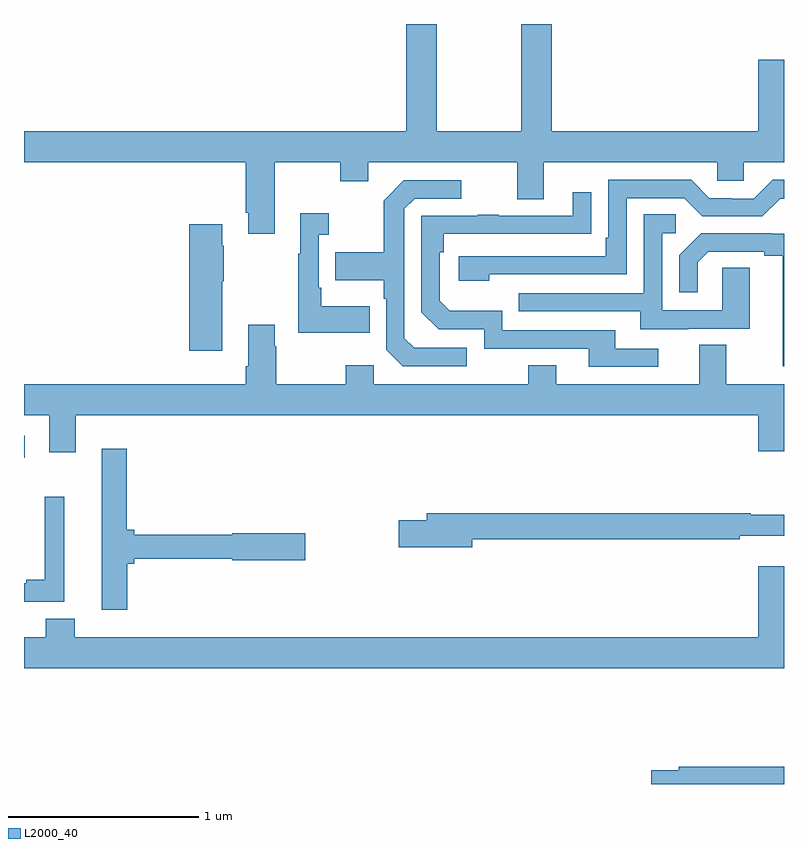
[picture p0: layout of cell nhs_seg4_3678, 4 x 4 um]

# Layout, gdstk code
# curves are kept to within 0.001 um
import gdstk
lib = gdstk.Library(unit=1e-6, precision=1e-09)
def R(c, l, rs):  # rectangles x0, y0, x1, y1
    for r in rs: c.add(gdstk.rectangle(r[:2], r[2:], *l))
def P(c, l, *ps):  # polygons
    for p in ps: c.add(gdstk.Polygon(p, *l))
L2000_40 = (2000, 40)

nhs_seg4_3678 = lib.new_cell('nhs_seg4_3678')
R(nhs_seg4_3678, L2000_40, [(305,776.617,305.005,776.733)])
P(nhs_seg4_3678, L2000_40, [(306.319,778.172),(306.664,778.172),(306.664,778.073),(306.811,778.073),(306.811,778.172),(307.595,778.172),(307.595,777.978),(307.735,777.978),(307.735,778.172),(308.649,778.172),(308.649,778.074),(308.787,778.074),(308.787,778.172),(309,778.172),(309,778.711),(308.864,778.711),(308.864,778.336),(307.778,778.336),(307.778,778.9),(307.618,778.9),(307.618,778.336),(307.173,778.336),(307.173,778.9),(307.013,778.9),(307.013,778.336),(305,778.336),(305,778.172),(306.167,778.172),(306.167,777.907),(306.179,777.907),(306.179,777.795),(306.319,777.795)],
  [(307.448,777.582),(308.172,777.582),(308.172,777.984),(308.475,777.984),(308.571,777.888),(308.886,777.888),(308.979,777.981),(309,777.981),(309,778.081),(308.941,778.081),(308.841,777.981),(308.726,777.981),(308.726,777.984),(308.607,777.984),(308.511,778.08),(308.076,778.08),(308.076,777.775),(308.063,777.775),(308.063,777.678),(307.287,777.678),(307.287,777.548),(307.448,777.548)],
  [(307.33,777.195),(307.053,777.195),(307.002,777.246),(307.002,777.927),(307.056,777.981),(307.3,777.981),(307.3,778.077),(306.999,778.077),(306.894,777.971),(306.894,777.699),(306.637,777.699),(306.637,777.551),(306.894,777.551),(306.894,777.455),(306.906,777.455),(306.906,777.186),(306.993,777.099),(307.33,777.099)],
  [(308.338,777.192),(308.113,777.192),(308.113,777.288),(307.518,777.288),(307.518,777.391),(307.241,777.391),(307.188,777.444),(307.188,777.698),(307.208,777.698),(307.208,777.795),(307.985,777.796),(307.985,778.015),(307.889,778.015),(307.889,777.891),(307.499,777.891),(307.499,777.896),(307.387,777.896),(307.387,777.891),(307.092,777.891),(307.092,777.384),(307.182,777.294),(307.422,777.294),(307.422,777.192),(307.973,777.192),(307.973,777.096),(308.338,777.096)],
  [(306.821,777.415),(306.565,777.415),(306.565,777.511),(306.552,777.511),(306.552,777.791),(306.604,777.791),(306.604,777.904),(306.455,777.904),(306.455,777.691),(306.444,777.691),(306.444,777.275),(306.821,777.275)],
  [(308.497,777.297),(308.821,777.297),(308.821,777.617),(308.676,777.617),(308.676,777.393),(308.358,777.393),(308.358,777.798),(308.431,777.798),(308.431,777.899),(308.262,777.899),(308.262,777.483),(307.603,777.483),(307.603,777.387),(308.243,777.387),(308.243,777.293),(308.497,777.293)],
  [(306.043,777.545),(306.051,777.545),(306.051,777.734),(306.043,777.734),(306.043,777.847),(305.87,777.847),(305.87,777.18),(306.043,777.18)],
  [(309,777.795),(308.936,777.795),(308.936,777.798),(308.564,777.798),(308.448,777.682),(308.448,777.489),(308.545,777.489),(308.545,777.645),(308.602,777.702),(308.897,777.702),(308.897,777.68),(308.993,777.68),(308.993,777.099),(309,777.099)],
  [(305.272,776.84),(308.864,776.84),(308.864,776.652),(309,776.652),(309,777.004),(308.695,777.004),(308.695,777.212),(308.555,777.212),(308.555,777.004),(307.801,777.004),(307.801,777.103),(307.654,777.103),(307.654,777.004),(306.84,777.004),(306.84,777.103),(306.694,777.103),(306.694,777.004),(306.327,777.004),(306.327,777.203),(306.319,777.203),(306.319,777.316),(306.179,777.316),(306.179,777.1),(306.167,777.1),(306.167,777.004),(305,777.004),(305,776.84),(305.132,776.84),(305.132,776.646),(305.272,776.646)],
  [(305.543,776.059),(305.579,776.059),(305.579,776.085),(306.096,776.085),(306.096,776.077),(306.481,776.077),(306.481,776.219),(306.096,776.219),(306.096,776.213),(305.579,776.213),(305.579,776.237),(305.54,776.237),(305.54,776.665),(305.408,776.665),(305.408,775.818),(305.543,775.818)],
  [(305.212,776.413),(305.108,776.413),(305.108,775.976),(305.012,775.976),(305.012,775.956),(305,775.956),(305,775.86),(305.212,775.86)],
  [(307.36,776.188),(308.768,776.188),(308.768,776.207),(309,776.207),(309,776.317),(308.825,776.317),(308.825,776.324),(307.121,776.324),(307.121,776.288),(306.972,776.288),(306.972,776.146),(307.36,776.146)],
  [(309,776.047),(308.864,776.047),(308.864,775.672),(305.267,775.672),(305.267,775.771),(305.114,775.771),(305.114,775.672),(305,775.672),(305,775.508),(309,775.508)],
  [(309,774.992),(308.446,774.992),(308.446,774.972),(308.3,774.972),(308.3,774.9),(309,774.9)])

lib.write_gds('nhs_seg4_3678.gds')
